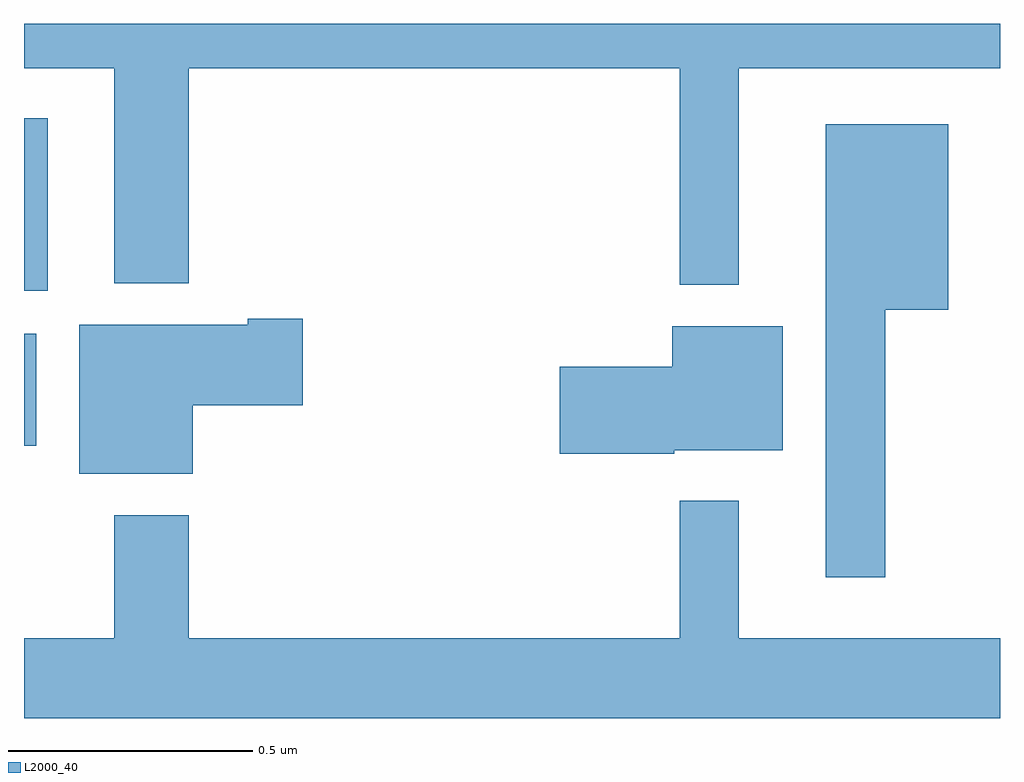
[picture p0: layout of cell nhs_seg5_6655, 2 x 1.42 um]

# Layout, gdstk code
import gdstk
lib = gdstk.Library(unit=1e-6, precision=1e-09)
def R(c, l, rs):  # rectangles x0, y0, x1, y1
    for r in rs: c.add(gdstk.rectangle(r[:2], r[2:], *l))
def P(c, l, *ps):  # polygons
    for p in ps: c.add(gdstk.Polygon(p, *l))
L2000_40 = (2000, 40)

nhs_seg5_6655 = lib.new_cell('nhs_seg5_6655')
R(nhs_seg5_6655, L2000_40, [(198,907.934,198.025,908.164), (198,908.252,198.049,908.605)])
P(nhs_seg5_6655, L2000_40, [(199.465,908.708),(200,908.708),(200,908.799),(198,908.799),(198,908.708),(198.185,908.708),(198.185,908.267),(198.338,908.267),(198.338,908.708),(199.344,908.708),(199.344,908.264),(199.465,908.264)],
  [(199.765,908.213),(199.894,908.213),(199.894,908.593),(199.643,908.593),(199.643,907.665),(199.765,907.665)],
  [(198.346,908.017),(198.571,908.017),(198.571,908.195),(198.458,908.195),(198.458,908.182),(198.113,908.182),(198.113,907.877),(198.346,907.877)],
  [(199.332,907.925),(199.555,907.925),(199.555,908.179),(199.328,908.179),(199.328,908.096),(199.098,908.096),(199.098,907.918),(199.332,907.918)],
  [(200,907.54),(199.465,907.54),(199.465,907.822),(199.344,907.822),(199.344,907.54),(198.338,907.54),(198.338,907.792),(198.185,907.792),(198.185,907.54),(198,907.54),(198,907.376),(200,907.376)])

lib.write_gds('nhs_seg5_6655.gds')
